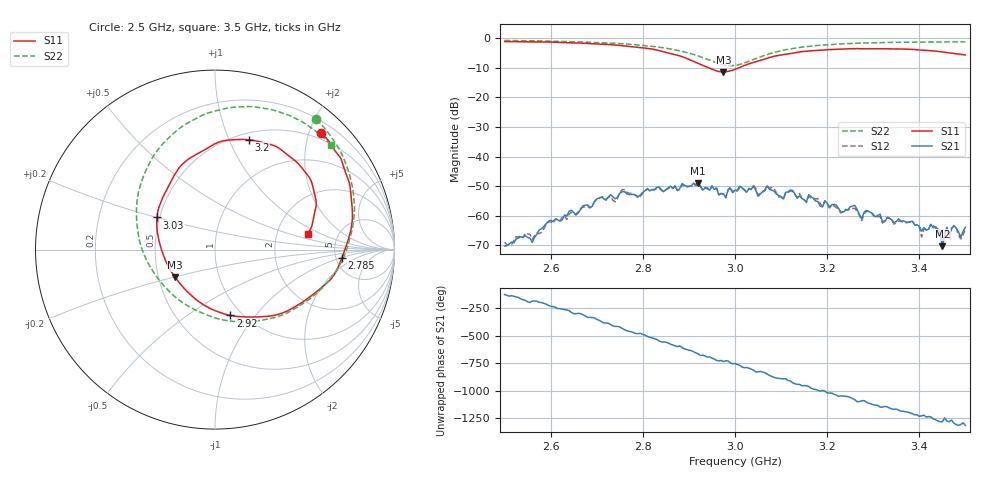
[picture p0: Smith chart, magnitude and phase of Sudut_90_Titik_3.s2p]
# Hz S RI R 50
! CMT, C1220, 16058040, 17.2.0/1
! Date: 15/08/2018 10:40:43
! Data: Format (Calibration Info)
! Freq  S11: Re/Im (F2)  S21: Re/Im (F2)  S12: Re/Im (F2)  S22: Re/Im (F2)
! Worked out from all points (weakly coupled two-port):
!   201 points, 2.5 GHz to 3.5 GHz, reference 50 ohm
!   highest |S21| = -48.86 dB at 2.92 GHz (marker M1); lowest = -70.2 dB at 3.45 GHz (marker M2)
!   lowest |S11| = -11.4 dB at 2.975 GHz (marker M3), VSWR 1.74, Z = 30.6 - j10.1 ohm
!   |S11| at or under -10 dB: 2.943 GHz to 3.008 GHz (64.71 MHz wide, 2.17 % of centre)
!   |S22| runs from -9.2 to -0.7 dB; largest |S21 - S12| = 0.00033
!   S11 on the Smith chart (normalised r, x): 2.5 GHz: 0.38, +2.21; 2.785 GHz: 5.69, -1.01; 2.92 GHz: 0.88, -0.76; 3.03 GHz: 0.48, +0.20; 3.2 GHz: 0.57, +1.19; 3.5 GHz: 3.01, +0.70
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2.5e9  0.593 0.6499  -0.000171 -0.000257  -0.000176 -0.000313  0.5641 0.7255
2.56e9  0.6601 0.5625  -0.000355 2.57e-05  -0.000398 5e-05  0.6319 0.6495
2.595e9  0.7024 0.5056  -0.000594 0.000543  -0.00063 0.000471  0.6682 0.5975
2.67e9  0.7538 0.3394  0.000914 0.00116  0.000964 0.00101  0.7384 0.4518
2.785e9  0.7079 -0.0443  -0.0011 -0.00191  -0.00116 -0.00187  0.7665 0.1239
2.835e9  0.58 -0.2231  -0.00308 0.000388  -0.00297 0.000222  0.7054 -0.066
2.92e9  0.0857 -0.3671  0.002 0.003  0.00182 0.00291  0.3335 -0.3782
2.975e9  -0.2217 -0.1535  0.00228 -0.000632  0.00223 -0.000612  -0.1015 -0.3398
3e9  -0.2978 -0.00155  0.00228 -0.00148  0.00221 -0.00159  -0.2771 -0.2095
3.03e9  -0.3232 0.1792  0.00071 -0.00274  0.000753 -0.00282  -0.4096 0.00991
3.17e9  0.0895 0.6115  -0.000103 0.00198  -0.000202 0.002  -0.0885 0.7395
3.2e9  0.1889 0.6119  0.000855 0.00138  0.000901 0.00135  0.0208 0.7767
3.26e9  0.3508 0.5688  0.0015 -9.42e-05  0.00134 -5.52e-05  0.2097 0.7961
3.275e9  0.3796 0.5475  0.00086 -0.000204  0.000791 -0.000257  0.2513 0.7911
3.335e9  0.4923 0.4451  0.000175 -0.000887  0.00012 -0.000912  0.3932 0.7557
3.385e9  0.5455 0.3504  -0.000537 -0.000608  -0.00057 -0.000596  0.4892 0.7102
3.405e9  0.557 0.2993  -0.000485 -0.000265  -0.0004 -0.000183  0.5202 0.6885
3.435e9  0.5609 0.2304  -0.000654 6.87e-05  -0.000631 7.11e-05  0.5645 0.6566
3.45e9  0.5535 0.1969  -0.000278 0.00013  -0.000287 0.000166  0.5864 0.6396
3.46e9  0.5483 0.1701  -0.000602 0.000212  -0.00059 0.000209  0.599 0.6295
3.49e9  0.5262 0.1026  -0.000277 0.000333  -0.000205 0.000351  0.6347 0.5937
3.5e9  0.5155 0.0842  -0.000334 0.000549  -0.000212 0.000561  0.6456 0.5826
